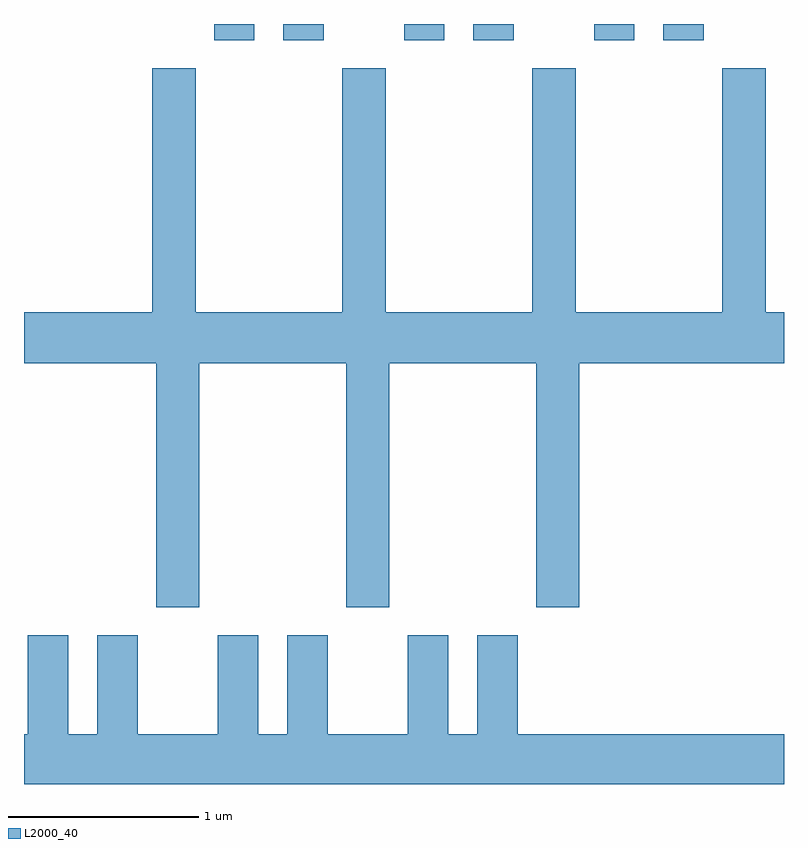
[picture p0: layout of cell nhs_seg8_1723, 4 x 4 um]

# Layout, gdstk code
import gdstk
lib = gdstk.Library(unit=1e-6, precision=1e-09)
def R(c, l, rs):  # rectangles x0, y0, x1, y1
    for r in rs: c.add(gdstk.rectangle(r[:2], r[2:], *l))
def P(c, l, *ps):  # polygons
    for p in ps: c.add(gdstk.Polygon(p, *l))
L2000_40 = (2000, 40)

nhs_seg8_1723 = lib.new_cell('nhs_seg8_1723')
R(nhs_seg8_1723, L2000_40, [(236.611,1920.256,236.824,1920.342), (236.976,1920.256,237.189,1920.342), (237.611,1920.256,237.824,1920.342), (237.976,1920.256,238.189,1920.342), (238.611,1920.256,238.824,1920.342), (238.976,1920.256,239.189,1920.342)])
P(nhs_seg8_1723, L2000_40, [(236.534,1918.556),(237.306,1918.556),(237.306,1917.271),(237.534,1917.271),(237.534,1918.556),(238.306,1918.556),(238.306,1917.271),(238.534,1917.271),(238.534,1918.556),(239.611,1918.556),(239.611,1918.824),(239.514,1918.824),(239.514,1920.109),(239.286,1920.109),(239.286,1918.824),(238.514,1918.824),(238.514,1920.109),(238.286,1920.109),(238.286,1918.824),(237.514,1918.824),(237.514,1920.109),(237.286,1920.109),(237.286,1918.824),(236.514,1918.824),(236.514,1920.109),(236.286,1920.109),(236.286,1918.824),(235.611,1918.824),(235.611,1918.556),(236.306,1918.556),(236.306,1917.271),(236.534,1917.271)],
  [(239.611,1916.604),(238.209,1916.604),(238.209,1917.124),(237.996,1917.124),(237.996,1916.604),(237.844,1916.604),(237.844,1917.124),(237.631,1917.124),(237.631,1916.604),(237.209,1916.604),(237.209,1917.124),(236.996,1917.124),(236.996,1916.604),(236.844,1916.604),(236.844,1917.124),(236.631,1917.124),(236.631,1916.604),(236.209,1916.604),(236.209,1917.124),(235.996,1917.124),(235.996,1916.604),(235.844,1916.604),(235.844,1917.124),(235.631,1917.124),(235.631,1916.604),(235.611,1916.604),(235.611,1916.342),(239.611,1916.342)])

lib.write_gds('nhs_seg8_1723.gds')
